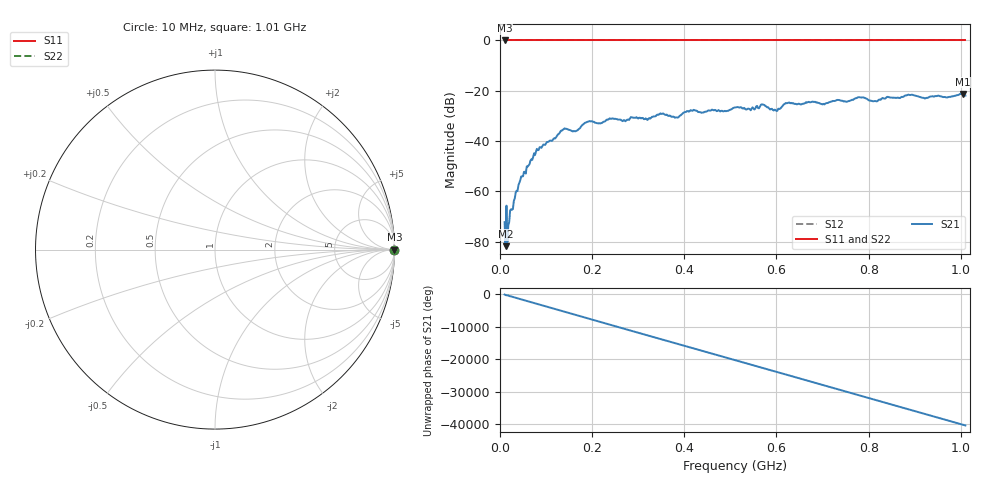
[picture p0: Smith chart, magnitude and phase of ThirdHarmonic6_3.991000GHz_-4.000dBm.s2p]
! 8/17/2025 2:14:07 PM
! C:\ANRITSUVNA\TEMP\TEMP.S2P
! CHANNEL.1
! TR.MEASUREMENT
! RAW.DATA
! RF.CORRECTION.OFF
! AVERAGING.OFF
! IF.BANDWIDTH: 5KHZ
! SWEEPTYPE:  FREQ.SWEEP(Linear)
! Reference Plane Port Info
! PORT:  PORT1  PORT2
! DISTANCE:  0  m  0  m
! TIME:  0  s  0  s
! PHASE.OFFSET:  0  deg.  0  deg.
! LOSS:  0  dB  0  dB
! REF.LOSS:  0  dB  0  dB
! REF.FREQ:  0  Hz  0  Hz
! Power Info
! POWER:  -20  dBm  -20  dBm
! EFF.POWER:  -20  dBm  -20  dBm
! SOURCE.ATTEN:  0  dB  0  dB
! TEST.ATTEN:  0  dB  0  dB
# GHZ S RI R 50.0
! FREQ.GHZ  S11RE  S11IM  S21RE  S21IM  S12RE  S12IM  S22RE  S22IM
!; PortSelection: Port_12
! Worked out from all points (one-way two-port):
!   501 points, 10 MHz to 1.01 GHz, reference 50 ohm
!   highest |S21| = -21.27 dB at 1.004 GHz (marker M1); lowest = -81.8 dB at 12 MHz (marker M2)
!   lowest |S11| = 0.0 dB at 10 MHz (marker M3)
!   |S11| at or under -10 dB: nowhere
!   |S22| runs from 0.0 to 0.0 dB; largest |S21 - S12| = 1.1
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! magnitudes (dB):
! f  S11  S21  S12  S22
! 10 MHz  0.0  -72.2  0.0  0.0
! 12 MHz  0.0  -81.8  0.0  0.0
! 20 MHz  0.0  -72.1  0.0  0.0
! 26 MHz  0.0  -67.3  0.0  0.0
! 44 MHz  0.0  -55.5  0.0  0.0
! 78 MHz  0.0  -44.3  0.0  0.0
! 136 MHz  0.0  -35.6  0.0  0.0
! 162 MHz  0.0  -36.1  0.0  0.0
! 178 MHz  0.0  -33.7  0.0  0.0
! 344 MHz  0.0  -29.6  0.0  0.0
! 384 MHz  0.0  -30.6  0.0  0.0
! 416 MHz  0.0  -27.9  0.0  0.0
! 510 MHz  0.0  -26.6  0.0  0.0
! 570 MHz  0.0  -25.5  0.0  0.0
! 598 MHz  0.0  -27.7  0.0  0.0
! 624 MHz  0.0  -24.9  0.0  0.0
! 678 MHz  0.0  -24.3  0.0  0.0
! 782 MHz  0.0  -22.6  0.0  0.0
! 814 MHz  0.0  -24.1  0.0  0.0
! 844 MHz  0.0  -22.5  0.0  0.0
! 1.004 GHz  0.0  -21.3  0.0  0.0
! 1.01 GHz  0.0  -21.9  0.0  0.0
